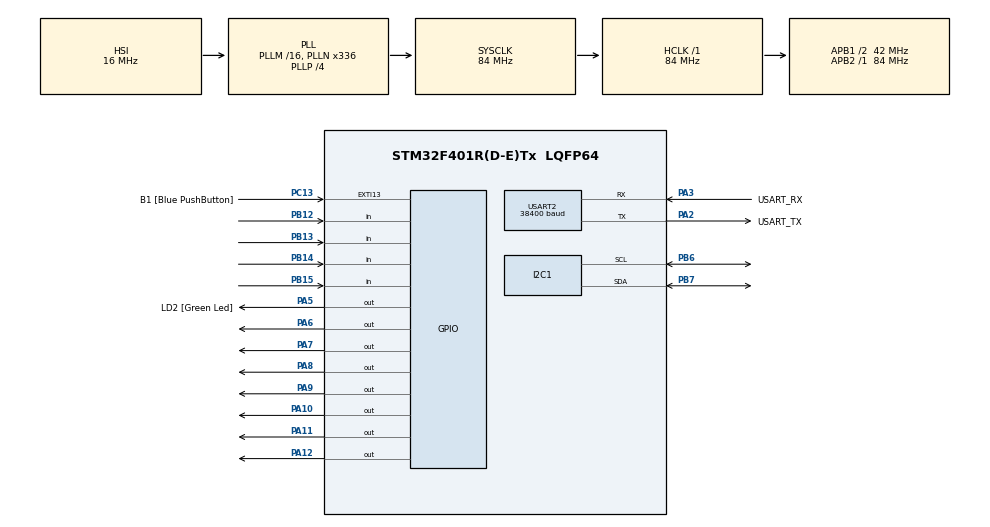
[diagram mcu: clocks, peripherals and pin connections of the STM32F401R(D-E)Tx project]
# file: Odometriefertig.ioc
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I2C1.OwnAddress=2
Mcu.Family=STM32F4
Mcu.Name=STM32F401R(D-E)Tx
Mcu.Package=LQFP64
NVIC.I2C1_ER_IRQn=true\:0\:0\:true\:false\:true\:true
NVIC.I2C1_EV_IRQn=true\:0\:0\:true\:false\:true\:true
NVIC.PriorityGroup=NVIC_PRIORITYGROUP_0
NVIC.TIM2_IRQn=true\:0\:1\:true\:false\:true\:true
PA10.Signal=GPIO_Output
PA11.Signal=GPIO_Output
PA12.Signal=GPIO_Output
PA13.GPIO_Label=TMS
PA13.Signal=SYS_JTMS-SWDIO
PA14.GPIO_Label=TCK
PA14.Signal=SYS_JTCK-SWCLK
PA2.GPIO_Label=USART_TX
PA2.GPIO_Mode=GPIO_MODE_AF_PP
PA2.GPIO_PuPd=GPIO_NOPULL
PA2.GPIO_Speed=GPIO_SPEED_FREQ_LOW
PA2.Mode=Asynchronous
PA2.Signal=USART2_TX
PA3.GPIO_Label=USART_RX
PA3.GPIO_Mode=GPIO_MODE_AF_PP
PA3.GPIO_PuPd=GPIO_NOPULL
PA3.GPIO_Speed=GPIO_SPEED_FREQ_LOW
PA3.Mode=Asynchronous
PA3.Signal=USART2_RX
PA5.GPIO_Label=LD2 [Green Led]
PA5.GPIO_Mode=GPIO_MODE_OUTPUT_PP
PA5.GPIO_PuPd=GPIO_NOPULL
PA5.GPIO_Speed=GPIO_SPEED_FREQ_LOW
PA5.Signal=GPIO_Output
PA6.Signal=GPIO_Output
PA7.Signal=GPIO_Output
PA8.Signal=GPIO_Output
PA9.Signal=GPIO_Output
PB12.Signal=GPIO_Input
PB13.Signal=GPIO_Input
PB14.Signal=GPIO_Input
PB15.Signal=GPIO_Input
PB3.GPIO_Label=SWO
PB3.Signal=SYS_JTDO-SWO
PB6.Mode=I2C
PB6.Signal=I2C1_SCL
PB7.Mode=I2C
PB7.Signal=I2C1_SDA
PC13-ANTI_TAMP.GPIO_Label=B1 [Blue PushButton]
PC13-ANTI_TAMP.GPIO_ModeDefaultEXTI=GPIO_MODE_IT_FALLING
PC13-ANTI_TAMP.GPIO_PuPd=GPIO_NOPULL
PC13-ANTI_TAMP.Signal=GPXTI13
PC14-OSC32_IN.Signal=RCC_OSC32_IN
PC15-OSC32_OUT.Signal=RCC_OSC32_OUT
PH0\ -\ OSC_IN.Signal=RCC_OSC_IN
PH1\ -\ OSC_OUT.Signal=RCC_OSC_OUT
ProjectManager.HeapSize=0x200
ProjectManager.StackSize=0x400
ProjectManager.TargetToolchain=SW4STM32
RCC.AHBFreq_Value=84000000
RCC.APB1CLKDivider=RCC_HCLK_DIV2
RCC.APB1Freq_Value=42000000
RCC.APB1TimFreq_Value=84000000
RCC.APB2Freq_Value=84000000
RCC.APB2TimFreq_Value=84000000
RCC.CortexFreq_Value=84000000
RCC.HCLKFreq_Value=84000000
RCC.HSE_VALUE=8000000
RCC.HSI_VALUE=16000000
RCC.LSE_VALUE=32768
RCC.PLLN=336
RCC.PLLP=RCC_PLLP_DIV4
RCC.PLLQ=7
RCC.SYSCLKFreq_VALUE=84000000
RCC.SYSCLKSource=RCC_SYSCLKSOURCE_PLLCLK
RCC.VCOOutputFreq_Value=336000000
TIM2.Period=201
TIM2.Prescaler=8401
USART2.BaudRate=38400
USART2.VirtualMode=VM_ASYNC
VP_TIM2_VS_ClockSourceINT.Mode=Internal
board=NUCLEO-F401RE

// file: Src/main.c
/**
  ******************************************************************************
  * File Name          : main.c
  * Description        : Main program body
  ******************************************************************************
  ** This notice applies to any and all portions of this file
  * that are not between comment pairs USER CODE BEGIN and
  * USER CODE END. Other portions of this file, whether
  * inserted by the user or by software development tools
  * are owned by their respective copyright owners.
  *
  * COPYRIGHT(c) 2018 STMicroelectronics
  *
  * Redistribution and use in source and binary forms, with or without modification,
  * are permitted provided that the following conditions are met:
  *   1. Redistributions of source code must retain the above copyright notice,
  *      this list of conditions and the following disclaimer.
  *   2. Redistributions in binary form must reproduce the above copyright notice,
  *      this list of conditions and the following disclaimer in the documentation
  *      and/or other materials provided with the distribution.
  *   3. Neither the name of STMicroelectronics nor the names of its contributors
  *      may be used to endorse or promote products derived from this software
  *      without specific prior written permission.
  *
  * THIS SOFTWARE IS PROVIDED BY THE COPYRIGHT HOLDERS AND CONTRIBUTORS "AS IS"
  * AND ANY EXPRESS OR IMPLIED WARRANTIES, INCLUDING, BUT NOT LIMITED TO, THE
  * IMPLIED WARRANTIES OF MERCHANTABILITY AND FITNESS FOR A PARTICULAR PURPOSE ARE
  * DISCLAIMED. IN NO EVENT SHALL THE COPYRIGHT HOLDER OR CONTRIBUTORS BE LIABLE
  * FOR ANY DIRECT, INDIRECT, INCIDENTAL, SPECIAL, EXEMPLARY, OR CONSEQUENTIAL
  * DAMAGES (INCLUDING, BUT NOT LIMITED TO, PROCUREMENT OF SUBSTITUTE GOODS OR
  * SERVICES; LOSS OF USE, DATA, OR PROFITS; OR BUSINESS INTERRUPTION) HOWEVER
  * CAUSED AND ON ANY THEORY OF LIABILITY, WHETHER IN CONTRACT, STRICT LIABILITY,
  * OR TORT (INCLUDING NEGLIGENCE OR OTHERWISE) ARISING IN ANY WAY OUT OF THE USE
  * OF THIS SOFTWARE, EVEN IF ADVISED OF THE POSSIBILITY OF SUCH DAMAGE.
  *
  ******************************************************************************
  */

#include "main.h"
#include "stm32f4xx_hal.h"

/* USER CODE BEGIN Includes */
/*if(GeschwindigkeitLinksmms < 100){ GPIOA->ODR = (GPIOA->IDR & 0xFFFFE03F)|(DISP_0<<6);}      //Test für Ausgabe der Geschwindigkeit des linken Rads übers Display
else if(GeschwindigkeitLinksmms < 200){GPIOA->ODR = (GPIOA->IDR & 0xFFFFE03F)|(DISP_1<<6);}
else if(GeschwindigkeitLinksmms < 300){GPIOA->ODR = (GPIOA->IDR & 0xFFFFE03F)|(DISP_2<<6);}
else if(GeschwindigkeitLinksmms < 400){GPIOA->ODR = (GPIOA->IDR & 0xFFFFE03F)|(DISP_3<<6);}
else if(GeschwindigkeitLinksmms < 500){GPIOA->ODR = (GPIOA->IDR & 0xFFFFE03F)|(DISP_4<<6);}
else if(GeschwindigkeitLinksmms < 600){GPIOA->ODR = (GPIOA->IDR & 0xFFFFE03F)|(DISP_5<<6);}
else if(GeschwindigkeitLinksmms < 700){GPIOA->ODR = (GPIOA->IDR & 0xFFFFE03F)|(DISP_6<<6);}
else if(GeschwindigkeitLinksmms < 800){GPIOA->ODR = (GPIOA->IDR & 0xFFFFE03F)|(DISP_7<<6);}
else if(GeschwindigkeitLinksmms < 900){GPIOA->ODR = (GPIOA->IDR & 0xFFFFE03F)|(DISP_8<<6);}
else if(GeschwindigkeitLinksmms < 1000){GPIOA->ODR = (GPIOA->IDR & 0xFFFFE03F)|(DISP_9<<6);}
else {GPIOA->ODR = (GPIOA->IDR & 0xFFFFE03F)|(DISP_h<<6);}*/

#include  <errno.h>
#include  <sys/unistd.h> 				// STDOUT_FILENO, STDERR_FILENO
#include <math.h>

#define STANDBY				0			// Führt kein Programm aus
#define RESET 				1			// Setzt die Ticksgesamt auf 0
#define GERADEAUSFAHRT		2			// Gibt an was die Odometrie überprüft
#define PUNKTDREHUNG		3			// Überwacht die Drehung auf einem Punkt
#define BOGENFAHRT			4			// Überwacht die Drehung um einen Bezugspunkt
#define KOORDINATENRESET	5			// Setzt das Koordinatensystem auf (0|0|0)
#define ABSTANDSMESSUNGR	11			// Testprogramme
#define ZIELANFAHRT			12
#define WINKELMESSUNG		13
										// Drehrichtung Definitions
										// physische Abmessungen
//#define RADDURCHMESSERMM 	74.37		// Angegebener Durchmesser 72 mm aber gespannt groesser
//#define RADABSTANDMM 		329			// Abstand der Odometrieraeder
#define TOLERANZ			1			// Fehlertoleranz des Odometrie Systems in Promille
//#define PI 					3.141592653589793
//#define TICKSPROUMDREHUNG	4000		// Encoderaufloesung pro Umdrehung
//#define TIMERINTERVALL      0.02		// Gibt den zeitlichen Abstand zweier Timerinterrupts in Sekunden an.
										// 7 Segment Definitions
#define KOORDINATENVORGABE		1
#define PROGRAMMAUSWAHL			2
#define KOORDINATENABFRAGE		3
#define GESCHWINDIGKEITSABFRAGE 4
#define FEHLERABFRAGE			5
#define FORTSCHRITT				6

#define DISP_CLEARE 		0b0000000
#define DISP_1 				0b0000110
#define DISP_2 				0b1011011
#define DISP_3 				0b1001111
#define DISP_4 				0b1100110
#define DISP_5 				0b1101101
#define DISP_6 				0b1111101
#define DISP_7 				0b0000111
#define DISP_8 				0b1111111
#define DISP_9 				0b1101111
#define DISP_0 				0b0111111
#define DISP_r 				0b1010000
#define DISP_l 				0b0111000
#define DISP_h 				0b1110100
#define DISP_korrekt 		0b0011110

#define I2C_ADDRESS    0x01
/* USER CODE END Includes */

I2C_HandleTypeDef hi2c1;

TIM_HandleTypeDef htim2;

UART_HandleTypeDef huart2;

/* USER CODE BEGIN PV */
/* Private variables ---------------------------------------------------------*/
// Kommunikation

uint8_t FunctionCode;
uint8_t aTxBuffer[TXBUFFERSIZE] ;
/* Buffer used for reception */
uint8_t aRxBuffer[RXBUFFERSIZE];

//Variablen für Streckenberechnung
double 	dFahrtstreckeLinksmm;
double	dFahrtstreckeRechtsmm;
double 	dFahrtstreckeMittelmm;

double 	dwinkellinks;						// Grad
double 	dwinkelrechts;						// Grad
double 	droboterwinkel;						// Grad

double 	ZielstreckeLinksmm;
double 	ZielstreckeRechtsmm;
double 	Zielroboterwinkel;					// Grad

double 	quadratgroessemm;					// Test für das Koordinatensystem
double  testwinkel;							// Test für den Roboterwinkel
int16_t	testbluetooth_ink;
int32_t schleifenzaehler;

double 	abstandzumbezugspunktmm;			// Für Bogenfahrt
double 	bogenfahrtkonstante;				// Für Bogenfahrt

float 	GeschwindigkeitLinksmms;			// Für Programm velocity In mm pro Sekunde
float 	GeschwindigkeitRechtsmms;			// Für Programm velocity
float 	Lineargeschwindigkeitmms;			// Für Programm velocity
float 	Winkelgeschwindigkeitgrads;			// Für Programm velocity In Grad pro Sekunde

double 	x_koordinatemm;						// Variablen für das Koordinatensystem
double 	y_koordinatemm;
double 	alpha_koordinategrad;
double 	alpha_koordinateradiant;

double 	winkelvproTick;						//Variablen in denen aus physikalischen Abmessungen des Systems Konstanten berechnet werden.
double 	winkelvproTickpunktdrehung;
double 	xneufall2;
double 	yneufall2;
double 	xneufall3;
double 	yneufall3;
double 	xneufall6;
double 	yneufall6;
double 	xneufall7;
double 	yneufall7;
double 	streckeprotick;

int8_t 	Programmauswahl;						// Programmauswahl
int8_t 	Fehler;								// Variable um einen Fehler zu speichern, der sich auf das Ziel bezieht
int8_t 	FehlerTyp2;							// Variable um einen Fehler zu speichern, der sich auf die aktuelle Fahrtstrecke bezieht

uint8_t 	EncoderwertRechts;					// Variablen der Encoder
int32_t 	TicksgesamtRechts;
int32_t 	TicksgesamtRechtsalt;
int32_t 	TicksgesamtRechtsneu;
int8_t 		ChangeRechts;						// Für das Koordinatensystem

uint8_t 	EncoderwertLinks;
int32_t 	TicksgesamtLinks;
int32_t 	TicksgesamtLinksalt;
int32_t 	TicksgesamtLinksneu;
int8_t 		ChangeLinks;
/* USER CODE END PV */

void SystemClock_Config(void);
static void MX_GPIO_Init(void);
static void MX_I2C1_Init(void);
static void MX_USART2_UART_Init(void);
static void MX_TIM2_Init(void);

/* USER CODE BEGIN PFP */
/* Private function prototypes -----------------------------------------------*/
void initialisierung();
void konstantenberechnung();
void read_encoder();
void calc_encoder();
void koordinatenberechnung();
void reset();
void geradeausfahrt();
void punktdrehung();
void bogenfahrt();
void koordinatenreset();
void abstandsmessungrechts();
void zielanfahrtrechts();
void winkelmessunglinks();

HAL_I2C_SlaveRxCpltCallback(I2C_HandleTypeDef *hi2c)
{
    uint8_t i;
    int32_t x_Koord = 0;
    int32_t y_Koord = 0;
    int32_t winkel =  0;

    switch(FunctionCode){
    case KOORDINATENVORGABE:            //Koordinatenvorgabe
        for(i=1;i<5;i++){
            x_Koord = x_Koord | aRxBuffer[i];
            if(i<4)
            x_Koord = x_Koord << 8;
        }
        for(i=5;i<9;i++){
            y_Koord &= aRxBuffer[i];
            y_Koord = y_Koord << 8;
        }
        for(i=9;i<17;i++){
            winkel &= aRxBuffer[i];
            winkel = winkel<< 8;
        }
        x_koordinatemm = (double)x_Koord/1000000;
        y_koordinatemm = (double)y_Koord/1000000;
        alpha_koordinategrad =(double)winkel/100;
        break;

    case PROGRAMMAUSWAHL:			break;
    case KOORDINATENABFRAGE:		break;
    case GESCHWINDIGKEITSABFRAGE: 	break;
    case FEHLERABFRAGE:				break;
    case FORTSCHRITT:				break;
    default:						break;
        ;
    }
    if(HAL_I2C_Slave_Transmit_IT(&hi2c1, (uint8_t*)aTxBuffer, TXBUFFERSIZE)!= HAL_OK)
            {
              /* Transfer error in transmission process */
              Error_Handler();
            }
}

//for debug:
void display_out(uint8_t in);
/* USER CODE END PFP */

/* USER CODE BEGIN 0 */
int _write(int file, char *data, int len)						// Für das Überladen der printf
{
   if ((file != STDOUT_FILENO) && (file != STDERR_FILENO))
   {
      errno = EBADF;
      return -1;
   }

   // arbitrary timeout 1000
   HAL_StatusTypeDef status =
      HAL_UART_Transmit(&huart2, (uint8_t*)data, len, 1000);

   // return # of bytes written - as best we can tell
   return (status == HAL_OK ? len : 0);
}
/* USER CODE END 0 */

int main(void)
{

  /* USER CODE BEGIN 1 */
	  initialisierung();							//Enthält HAL GPIO Timer und andere Initialisierung
	  konstantenberechnung();						// Berechnet Konstanten, die sich aus den Abmessungen des Roboters ergeben

	  Programmauswahl = STANDBY;					//!!!!PROGRAMMAUSWAHL!!!

	  ZielstreckeLinksmm = 0;						//Für Geradeausfahrt. Roboterziel
	  ZielstreckeRechtsmm = 0;
	  Zielroboterwinkel = 0;						//Für Punktdrehung und Bogenfahrt

	  abstandzumbezugspunktmm = 500;				//Für Bogenfahrt
	  testwinkel = 360;								// Um Winkelberechnung des Koordinatensystems zu testen
	  quadratgroessemm = 600;						//Zum Koordinatensystemtest
	  testbluetooth_ink = 0;						//Regelt in welchen Zeitabständen der HC 06 sendet
	 schleifenzaehler = 0;							//Zählt die Schleifendurchläufe zwischen zwei Timer Interrupts

  /* USER CODE END 1 */

  while (1)
  {
  /* USER CODE END WHILE */
	  /*##-2- Put I2C peripheral in reception process ###########################*/
		        if(HAL_I2C_GetState(&hi2c1) == HAL_I2C_STATE_READY){
		      if(HAL_I2C_Slave_Receive_IT(&hi2c1, (uint8_t *)aRxBuffer, RXBUFFERSIZE) != HAL_OK)
		      {
		        /* Transfer error in reception process */
		        Error_Handler();
		      }
		    }
  /* USER CODE BEGIN 3 */

	  read_encoder();
	  calc_encoder();
	  koordinatenberechnung();
	  ++schleifenzaehler;
	  if(testbluetooth_ink>199)
	  	  {
		  testbluetooth_ink = 0;
		  printf("X-Koordinate: %f Y-Koordinate: %f Roboterwinkel: %f Schleife: %i \n\r",(float)x_koordinatemm, (float)y_koordinatemm, (float)alpha_koordinategrad, schleifenzaehler);
	  	  schleifenzaehler = 0;
	  	  }

	  switch (Programmauswahl)
	  {

	  	  case STANDBY:											break;
	  	  case RESET:  				reset();			 		break;
	  	  case GERADEAUSFAHRT: 		geradeausfahrt();	 		break;
	  	  case PUNKTDREHUNG: 		punktdrehung();		 		break;
	  	  case BOGENFAHRT: 			bogenfahrt();		 		break;
	  	  case KOORDINATENRESET:	koordinatenreset();			break;
	  	  case ABSTANDSMESSUNGR: 	abstandsmessungrechts(); 	break;
	  	  case ZIELANFAHRT: 		zielanfahrtrechts();		break;
	  	  case WINKELMESSUNG:		winkelmessunglinks();		break;
	  	  default: 												break;
	  }
  }
  /* USER CODE END 3 */

}

/** System Clock Configuration
*/
void SystemClock_Config(void)
{

  RCC_OscInitTypeDef RCC_OscInitStruct;
  RCC_ClkInitTypeDef RCC_ClkInitStruct;

    /**Configure the main internal regulator output voltage
    */
  __HAL_RCC_PWR_CLK_ENABLE();

  __HAL_PWR_VOLTAGESCALING_CONFIG(PWR_REGULATOR_VOLTAGE_SCALE2);

    /**Initializes the CPU, AHB and APB busses clocks
    */
  RCC_OscInitStruct.OscillatorType = RCC_OSCILLATORTYPE_HSI;
  RCC_OscInitStruct.HSIState = RCC_HSI_ON;
  RCC_OscInitStruct.HSICalibrationValue = 16;
  RCC_OscInitStruct.PLL.PLLState = RCC_PLL_ON;
  RCC_OscInitStruct.PLL.PLLSource = RCC_PLLSOURCE_HSI;
  RCC_OscInitStruct.PLL.PLLM = 16;
  RCC_OscInitStruct.PLL.PLLN = 336;
  RCC_OscInitStruct.PLL.PLLP = RCC_PLLP_DIV4;
  RCC_OscInitStruct.PLL.PLLQ = 7;
  if (HAL_RCC_OscConfig(&RCC_OscInitStruct) != HAL_OK)
  {
    _Error_Handler(__FILE__, __LINE__);
  }

    /**Initializes the CPU, AHB and APB busses clocks
    */
  RCC_ClkInitStruct.ClockType = RCC_CLOCKTYPE_HCLK|RCC_CLOCKTYPE_SYSCLK
                              |RCC_CLOCKTYPE_PCLK1|RCC_CLOCKTYPE_PCLK2;
  RCC_ClkInitStruct.SYSCLKSource = RCC_SYSCLKSOURCE_PLLCLK;
  RCC_ClkInitStruct.AHBCLKDivider = RCC_SYSCLK_DIV1;
  RCC_ClkInitStruct.APB1CLKDivider = RCC_HCLK_DIV2;
  RCC_ClkInitStruct.APB2CLKDivider = RCC_HCLK_DIV1;

  if (HAL_RCC_ClockConfig(&RCC_ClkInitStruct, FLASH_LATENCY_2) != HAL_OK)
  {
    _Error_Handler(__FILE__, __LINE__);
  }

    /**Configure the Systick interrupt time
    */
  HAL_SYSTICK_Config(HAL_RCC_GetHCLKFreq()/1000);

    /**Configure the Systick
    */
  HAL_SYSTICK_CLKSourceConfig(SYSTICK_CLKSOURCE_HCLK);

  /* SysTick_IRQn interrupt configuration */
  HAL_NVIC_SetPriority(SysTick_IRQn, 0, 0);
}

/* I2C1 init function */
static void MX_I2C1_Init(void)
{

  hi2c1.Instance = I2C1;
  hi2c1.Init.ClockSpeed = 100000;
  hi2c1.Init.DutyCycle = I2C_DUTYCYCLE_2;
  hi2c1.Init.OwnAddress1 = 4;
  hi2c1.Init.AddressingMode = I2C_ADDRESSINGMODE_7BIT;
  hi2c1.Init.DualAddressMode = I2C_DUALADDRESS_DISABLE;
  hi2c1.Init.OwnAddress2 = 0;
  hi2c1.Init.GeneralCallMode = I2C_GENERALCALL_DISABLE;
  hi2c1.Init.NoStretchMode = I2C_NOSTRETCH_DISABLE;
  if (HAL_I2C_Init(&hi2c1) != HAL_OK)
  {
    _Error_Handler(__FILE__, __LINE__);
  }

}

/* TIM2 init function */
static void MX_TIM2_Init(void)
{

  TIM_ClockConfigTypeDef sClockSourceConfig;
  TIM_MasterConfigTypeDef sMasterConfig;

  htim2.Instance = TIM2;
  htim2.Init.Prescaler = 8401;
  htim2.Init.CounterMode = TIM_COUNTERMODE_UP;
  htim2.Init.Period = 201;
  htim2.Init.ClockDivision = TIM_CLOCKDIVISION_DIV1;
  if (HAL_TIM_Base_Init(&htim2) != HAL_OK)
  {
    _Error_Handler(__FILE__, __LINE__);
  }

  sClockSourceConfig.ClockSource = TIM_CLOCKSOURCE_INTERNAL;
  if (HAL_TIM_ConfigClockSource(&htim2, &sClockSourceConfig) != HAL_OK)
  {
    _Error_Handler(__FILE__, __LINE__);
  }

  sMasterConfig.MasterOutputTrigger = TIM_TRGO_RESET;
  sMasterConfig.MasterSlaveMode = TIM_MASTERSLAVEMODE_DISABLE;
  if (HAL_TIMEx_MasterConfigSynchronization(&htim2, &sMasterConfig) != HAL_OK)
  {
    _Error_Handler(__FILE__, __LINE__);
  }

}

/* USART2 init function */
static void MX_USART2_UART_Init(void)
{

  huart2.Instance = USART2;
  huart2.Init.BaudRate = 38400;
  huart2.Init.WordLength = UART_WORDLENGTH_8B;
  huart2.Init.StopBits = UART_STOPBITS_1;
  huart2.Init.Parity = UART_PARITY_NONE;
  huart2.Init.Mode = UART_MODE_TX_RX;
  huart2.Init.HwFlowCtl = UART_HWCONTROL_NONE;
  huart2.Init.OverSampling = UART_OVERSAMPLING_16;
  if (HAL_UART_Init(&huart2) != HAL_OK)
  {
    _Error_Handler(__FILE__, __LINE__);
  }

}

/** Configure pins as
        * Analog
        * Input
        * Output
        * EVENT_OUT
        * EXTI
*/
static void MX_GPIO_Init(void)
{

  GPIO_InitTypeDef GPIO_InitStruct;

  /* GPIO Ports Clock Enable */
  __HAL_RCC_GPIOC_CLK_ENABLE();
  __HAL_RCC_GPIOH_CLK_ENABLE();
  __HAL_RCC_GPIOA_CLK_ENABLE();
  __HAL_RCC_GPIOB_CLK_ENABLE();

  /*Configure GPIO pin Output Level */
  HAL_GPIO_WritePin(GPIOA, LD2_Pin|GPIO_PIN_6|GPIO_PIN_7|GPIO_PIN_8
                          |GPIO_PIN_9|GPIO_PIN_10|GPIO_PIN_11|GPIO_PIN_12, GPIO_PIN_RESET);

  /*Configure GPIO pin : B1_Pin */
  GPIO_InitStruct.Pin = B1_Pin;
  GPIO_InitStruct.Mode = GPIO_MODE_IT_FALLING;
  GPIO_InitStruct.Pull = GPIO_NOPULL;
  HAL_GPIO_Init(B1_GPIO_Port, &GPIO_InitStruct);

  /*Configure GPIO pins : LD2_Pin PA6 PA7 PA8
                           PA9 PA10 PA11 PA12 */
  GPIO_InitStruct.Pin = LD2_Pin|GPIO_PIN_6|GPIO_PIN_7|GPIO_PIN_8
                          |GPIO_PIN_9|GPIO_PIN_10|GPIO_PIN_11|GPIO_PIN_12;
  GPIO_InitStruct.Mode = GPIO_MODE_OUTPUT_PP;
  GPIO_InitStruct.Pull = GPIO_NOPULL;
  GPIO_InitStruct.Speed = GPIO_SPEED_FREQ_LOW;
  HAL_GPIO_Init(GPIOA, &GPIO_InitStruct);

  /*Configure GPIO pins : PB12 PB13 PB14 PB15 */
  GPIO_InitStruct.Pin = GPIO_PIN_12|GPIO_PIN_13|GPIO_PIN_14|GPIO_PIN_15;
  GPIO_InitStruct.Mode = GPIO_MODE_INPUT;
  GPIO_InitStruct.Pull = GPIO_NOPULL;
  HAL_GPIO_Init(GPIOB, &GPIO_InitStruct);

}

/* USER CODE BEGIN 4 */
void initialisierung()
{

	  HAL_Init();

	  SystemClock_Config();

	  MX_GPIO_Init();
	  MX_I2C1_Init();
	  MX_TIM2_Init();
	  MX_USART2_UART_Init();

	  HAL_TIM_Base_Start_IT(&htim2);

	  GeschwindigkeitLinksmms = 0;					// Variablen der Funktion zur Geschwindigkeitsberechnung
	  GeschwindigkeitRechtsmms = 0;
	  Lineargeschwindigkeitmms = 0;
	  Winkelgeschwindigkeitgrads = 0;

	  dFahrtstreckeLinksmm = 0;
	  dFahrtstreckeRechtsmm = 0;
	  dFahrtstreckeMittelmm = 0;

	  dwinkellinks = 0;
	  dwinkelrechts = 0;
	  droboterwinkel = 0;

	  ZielstreckeLinksmm = 0;
	  ZielstreckeRechtsmm = 0;
	  Zielroboterwinkel = 0;
	  quadratgroessemm = 0;
	  abstandzumbezugspunktmm = 0;
	  bogenfahrtkonstante = 0;

	  x_koordinatemm = 0;
	  y_koordinatemm = 0;
	  alpha_koordinategrad = 0;
	  alpha_koordinateradiant = 0;

	  Programmauswahl = STANDBY;
	  Fehler = 0;										//Bezieht sich auf die Endposition
	  FehlerTyp2 = 0;									//Bezieht sich auf die aktuelle Stellung

	  EncoderwertRechts = 0;
	  TicksgesamtRechts = 0;
	  TicksgesamtRechtsalt = 0;
	  TicksgesamtRechtsneu = 0;
	  ChangeRechts = 0;

	  EncoderwertLinks = 0;
	  TicksgesamtLinks = 0;
	  TicksgesamtLinksalt = 0;
	  TicksgesamtLinksneu = 0;
	  ChangeLinks = 0;
}
void konstantenberechnung()
{
winkelvproTick = (180.0 * RADDURCHMESSERMM)/(TICKSPROUMDREHUNG * RADABSTANDMM);
winkelvproTickpunktdrehung = (360 *RADDURCHMESSERMM)/(RADABSTANDMM * TICKSPROUMDREHUNG);
xneufall2 = (RADABSTANDMM/2) * (1 - cos(winkelvproTick * PI / 180.0));
yneufall2 = ((-1) * RADABSTANDMM/2) * sin(winkelvproTick * PI / 180.0);
xneufall3 = (RADABSTANDMM/2) * (cos(winkelvproTick * PI / 180.0) - 1);
yneufall3 = ((-1) * RADABSTANDMM/2) * sin(winkelvproTick * PI / 180.0);
xneufall6 = (RADABSTANDMM/2) * (cos(winkelvproTick * PI / 180.0) - 1);
yneufall6 = (RADABSTANDMM/2) * sin(winkelvproTick * PI / 180.0);
xneufall7 = (RADABSTANDMM/2) * (1 - cos(winkelvproTick * PI / 180.0));
yneufall7 = (RADABSTANDMM/2) * sin(winkelvproTick * PI / 180.0);
streckeprotick = (PI * RADDURCHMESSERMM)/TICKSPROUMDREHUNG;

}

void read_encoder()													// schiebt Encoderwerte weiter und fügt neue Werte ein
{
	EncoderwertLinks = (EncoderwertLinks<<2) & 0x0C;
	EncoderwertLinks |= (uint8_t)(((GPIOB->IDR)>>12) & 0x03);
	EncoderwertRechts = (EncoderwertRechts<<2) & 0x0C;
	EncoderwertRechts |=(uint8_t)(((GPIOB->IDR)>>14) & 0x03);
}
void calc_encoder()
{
	if(EncoderwertLinks == 0x07 ||EncoderwertLinks == 0x0E||EncoderwertLinks == 0x08||EncoderwertLinks == 0x01)
	{++TicksgesamtLinks ; ChangeLinks = 1;}
	else if (EncoderwertLinks == 0x02||EncoderwertLinks == 0x0B||EncoderwertLinks == 0x0D||EncoderwertLinks == 0x04)
	{--TicksgesamtLinks; ChangeLinks =-1;}
	else if((EncoderwertLinks&0x03)==(EncoderwertLinks>>2))
	{ ChangeLinks = 0;}
	else
	{ChangeLinks = 0;}

	if(EncoderwertRechts == 0x07 ||EncoderwertRechts == 0x0E||EncoderwertRechts == 0x08||EncoderwertRechts == 0x01)
	{--TicksgesamtRechts ; ChangeRechts = -1;}
	else if (EncoderwertRechts == 0x02||EncoderwertRechts == 0x0B||EncoderwertRechts == 0x0D||EncoderwertRechts == 0x04)
	{++TicksgesamtRechts; ChangeRechts = 1;}
	else if((EncoderwertRechts&0x03)==(EncoderwertRechts>>2))
	{ ChangeRechts = 0;}
	else
	{ChangeRechts = 0;}
}
void koordinatenberechnung()
{
alpha_koordinateradiant = alpha_koordinategrad * PI / 180.0;

if (ChangeLinks == -1 && ChangeRechts == -1)				//Fährt zurück
{
	x_koordinatemm = x_koordinatemm + streckeprotick * sin(alpha_koordinateradiant);
	y_koordinatemm = y_koordinatemm - streckeprotick * cos(alpha_koordinateradiant);
}
else if(ChangeLinks == -1 && ChangeRechts == 0)				//Linkes Rad fährt zurück
{
	x_koordinatemm = x_koordinatemm - xneufall2 * cos((-1)* alpha_koordinateradiant) - yneufall2 * sin((-1)* alpha_koordinateradiant);
	y_koordinatemm = y_koordinatemm - xneufall2 * sin((-1)* alpha_koordinateradiant) + yneufall2 * cos((-1)* alpha_koordinateradiant);
	alpha_koordinategrad = alpha_koordinategrad - winkelvproTick;
}
else if(ChangeLinks == 0 && ChangeRechts == -1)				//Rechtes Rad fährt zurück
{
	x_koordinatemm = x_koordinatemm - xneufall3 * cos((-1)* alpha_koordinateradiant) - yneufall3 * sin((-1)* alpha_koordinateradiant);
	y_koordinatemm = y_koordinatemm - xneufall3 * sin((-1)* alpha_koordinateradiant) + yneufall3 * cos((-1)* alpha_koordinateradiant);
	alpha_koordinategrad = alpha_koordinategrad + winkelvproTick;
}
else if(ChangeLinks == -1 && ChangeRechts == 1)				//dreht sich gegen den Uhrzeigersinn
{
	alpha_koordinategrad = alpha_koordinategrad - winkelvproTickpunktdrehung;
}
else if(ChangeLinks == 1 && ChangeRechts == -1)				//dreht sich im Uhrzeigersinn
{
	alpha_koordinategrad = alpha_koordinategrad + winkelvproTickpunktdrehung;
}
else if(ChangeLinks == 0 && ChangeRechts == 1)				//Rechtes Rad fährt vorwärts
{
	x_koordinatemm = x_koordinatemm - xneufall6 * cos((-1)* alpha_koordinateradiant) - yneufall6 * sin((-1)* alpha_koordinateradiant);
	y_koordinatemm = y_koordinatemm - xneufall6 * sin((-1)* alpha_koordinateradiant) + yneufall6 * cos((-1)* alpha_koordinateradiant);
	alpha_koordinategrad = alpha_koordinategrad - winkelvproTick;
}
else if(ChangeLinks == 1 && ChangeRechts == 0)				//Linkes Rad fährt vorwärts
{
	x_koordinatemm = x_koordinatemm - xneufall7 * cos((-1)* alpha_koordinateradiant) - yneufall7 * sin((-1)* alpha_koordinateradiant);
	y_koordinatemm = y_koordinatemm - xneufall7 * sin((-1)* alpha_koordinateradiant) + yneufall7 * cos((-1)* alpha_koordinateradiant);
	alpha_koordinategrad = alpha_koordinategrad + winkelvproTick;
}
else if(ChangeLinks == 1 && ChangeRechts == 1)				//Fährt vorwärts
{
	x_koordinatemm = x_koordinatemm - streckeprotick * sin(alpha_koordinateradiant);
	y_koordinatemm = y_koordinatemm + streckeprotick * cos(alpha_koordinateradiant);
}
else {}

/*if (alpha_koordinategrad > testwinkel * (1000 - 0.1 * TOLERANZ)/1000 && alpha_koordinategrad < testwinkel * (1000 + 0.1 * TOLERANZ)/1000  )		// Test des Koordinatensystems. In welchem Teil des Spielfelds befindet sich der Robo
{GPIOA->ODR = (GPIOA->IDR & 0xFFFFE03F)|(DISP_0<<6);}
else if(alpha_koordinategrad > testwinkel * (1000 - TOLERANZ)/1000 && alpha_koordinategrad < testwinkel * (1000 + TOLERANZ)/1000 )
{GPIOA->ODR = (GPIOA->IDR & 0xFFFFE03F)|(DISP_1<<6);}
else if(alpha_koordinategrad > testwinkel * (1000 - 2 * TOLERANZ)/1000 && alpha_koordinategrad < testwinkel * (1000 + 2 * TOLERANZ)/1000  )
{GPIOA->ODR = (GPIOA->IDR & 0xFFFFE03F)|(DISP_2<<6);}
else if(alpha_koordinategrad > testwinkel * (1000 - 3 * TOLERANZ)/1000 && alpha_koordinategrad < testwinkel * (1000 + 3 * TOLERANZ)/1000 )
{GPIOA->ODR = (GPIOA->IDR & 0xFFFFE03F)|(DISP_3<<6);}
else if(alpha_koordinategrad > testwinkel * (1000 - 4 * TOLERANZ)/1000 && alpha_koordinategrad < testwinkel * (1000 + 4 * TOLERANZ)/1000 )
{GPIOA->ODR = (GPIOA->IDR & 0xFFFFE03F)|(DISP_4<<6);}
else if(alpha_koordinategrad > testwinkel * (1000 - 5 * TOLERANZ)/1000 && alpha_koordinategrad < testwinkel * (1000 + 5 * TOLERANZ)/1000 )
{GPIOA->ODR = (GPIOA->IDR & 0xFFFFE03F)|(DISP_5<<6);}
else if(alpha_koordinategrad > testwinkel * (1000 - 6 * TOLERANZ)/1000 && alpha_koordinategrad < testwinkel * (1000 + 6 * TOLERANZ)/1000 )
{GPIOA->ODR = (GPIOA->IDR & 0xFFFFE03F)|(DISP_6<<6);}
else if(alpha_koordinategrad > testwinkel * (1000 - 7 * TOLERANZ)/1000 && alpha_koordinategrad < testwinkel * (1000 + 7 * TOLERANZ)/1000 )
{GPIOA->ODR = (GPIOA->IDR & 0xFFFFE03F)|(DISP_7<<6);}
else if(alpha_koordinategrad > testwinkel * (1000 - 8 * TOLERANZ)/1000 && alpha_koordinategrad < testwinkel * (1000 + 8 * TOLERANZ)/1000 )
{GPIOA->ODR = (GPIOA->IDR & 0xFFFFE03F)|(DISP_8<<6);}
else if(alpha_koordinategrad > testwinkel * (1000 - 9 * TOLERANZ)/1000 && alpha_koordinategrad < testwinkel * (1000 + 9 * TOLERANZ)/1000 )
{GPIOA->ODR = (GPIOA->IDR & 0xFFFFE03F)|(DISP_9<<6);}
else
{GPIOA->ODR = (GPIOA->IDR & 0xFFFFE03F)|(DISP_l<<6);}*/

/*if (x_koordinatemm < ((-1) * quadratgroessemm/6) && y_koordinatemm >(quadratgroessemm/6) )		// Test des Koordinatensystems. In welchem Teil des Spielfelds befindet sich der Robo
{GPIOA->ODR = (GPIOA->IDR & 0xFFFFE03F)|(DISP_1<<6);}
else if((x_koordinatemm > ((-1) * quadratgroessemm/6) && x_koordinatemm < ( quadratgroessemm/6)) && y_koordinatemm >(quadratgroessemm/6))
{GPIOA->ODR = (GPIOA->IDR & 0xFFFFE03F)|(DISP_2<<6);}
else if(x_koordinatemm < ((-1) * quadratgroessemm/6) && (y_koordinatemm >( (-1) * quadratgroessemm/6) && y_koordinatemm < (quadratgroessemm/6)) )
{GPIOA->ODR = (GPIOA->IDR & 0xFFFFE03F)|(DISP_3<<6);}
else if(x_koordinatemm > (quadratgroessemm/6) && y_koordinatemm >(quadratgroessemm/6))
{GPIOA->ODR = (GPIOA->IDR & 0xFFFFE03F)|(DISP_4<<6);}
else if(x_koordinatemm < ((-1) * quadratgroessemm/6) && y_koordinatemm <((-1) * quadratgroessemm/6))
{GPIOA->ODR = (GPIOA->IDR & 0xFFFFE03F)|(DISP_5<<6);}
else if(x_koordinatemm > (quadratgroessemm/6) && (y_koordinatemm >( (-1) * quadratgroessemm/6) && y_koordinatemm < (quadratgroessemm/6)))
{GPIOA->ODR = (GPIOA->IDR & 0xFFFFE03F)|(DISP_6<<6);}
else if((x_koordinatemm > ((-1) * quadratgroessemm/6) && x_koordinatemm < ( quadratgroessemm/6)) && y_koordinatemm < ((-1) * quadratgroessemm/6))
{GPIOA->ODR = (GPIOA->IDR & 0xFFFFE03F)|(DISP_7<<6);}
else if(x_koordinatemm > (quadratgroessemm/6) && y_koordinatemm <((-1) * quadratgroessemm/6))
{GPIOA->ODR = (GPIOA->IDR & 0xFFFFE03F)|(DISP_8<<6);}
else
{GPIOA->ODR = (GPIOA->IDR & 0xFFFFE03F)|(DISP_0<<6);}*/

}
void reset()
{
	dFahrtstreckeLinksmm = 		0;
	dFahrtstreckeRechtsmm = 	0;
	dFahrtstreckeMittelmm = 	0;

	dwinkellinks = 				0;
	dwinkelrechts = 			0;
	droboterwinkel = 			0;

	ZielstreckeLinksmm = 		0;
	ZielstreckeRechtsmm = 		0;
	Zielroboterwinkel = 		0;

	abstandzumbezugspunktmm = 	0;
	bogenfahrtkonstante = 		0;

	Programmauswahl = 			STANDBY;
 	Fehler = 					0;
	FehlerTyp2 = 				0;

	EncoderwertRechts = 		0;
	TicksgesamtRechts = 		0;
	TicksgesamtRechtsalt = 		0;
	TicksgesamtRechtsneu = 		0;
	ChangeRechts = 				0;

	EncoderwertLinks = 			0;
	TicksgesamtLinks = 			0;
	TicksgesamtLinksalt = 		0;
	TicksgesamtLinksneu = 		0;
	ChangeLinks = 				0;
}
void geradeausfahrt()
{
	dFahrtstreckeRechtsmm 	= ((double)TicksgesamtRechts/TICKSPROUMDREHUNG) * PI *RADDURCHMESSERMM;
	dFahrtstreckeLinksmm 	= ((double)TicksgesamtLinks/TICKSPROUMDREHUNG) * PI *RADDURCHMESSERMM;

    if (dFahrtstreckeLinksmm <  dFahrtstreckeRechtsmm * (1000 - TOLERANZ)/1000)					//Gibt den Laufzeitfehler aus
	{
	FehlerTyp2 = 1;
	}
    else if (dFahrtstreckeLinksmm >  dFahrtstreckeRechtsmm * (1000 + TOLERANZ)/1000)
    {
    FehlerTyp2= 2;
    }
    else
    {
    FehlerTyp2 = 0;
    }

    if (dFahrtstreckeLinksmm < ZielstreckeLinksmm * (1000 - TOLERANZ)/1000 &&  dFahrtstreckeRechtsmm < ZielstreckeRechtsmm * (1000 - TOLERANZ)/1000)		//Fehler 1. Gibt die Typ1 Fehler aus
    {
    	Fehler= 1;
    	GPIOA->ODR = (GPIOA->IDR & 0xFFFFE03F)|(DISP_1<<6);
    }
    else if(dFahrtstreckeLinksmm < ZielstreckeLinksmm * (1000 - TOLERANZ)/1000 && (( dFahrtstreckeRechtsmm > ZielstreckeRechtsmm * (1000 - TOLERANZ)/1000) && ( dFahrtstreckeRechtsmm < ZielstreckeRechtsmm * (1000 + TOLERANZ)/1000))) // Fehler 2
    {
    	Fehler= 2;
    	GPIOA->ODR = (GPIOA->IDR & 0xFFFFE03F)|(DISP_2<<6);
    }
    else if(((dFahrtstreckeLinksmm > ZielstreckeLinksmm * (1000 - TOLERANZ)/1000) && (dFahrtstreckeLinksmm < ZielstreckeLinksmm * (1000 + TOLERANZ)/1000)) &&  dFahrtstreckeRechtsmm < ZielstreckeRechtsmm * (1000 - TOLERANZ)/1000) // Fehler 3
       {
       	Fehler= 3;
       	GPIOA->ODR = (GPIOA->IDR & 0xFFFFE03F)|(DISP_3<<6);
       }
    else if(dFahrtstreckeLinksmm < ZielstreckeLinksmm * (1000 - TOLERANZ)/1000 &&  dFahrtstreckeRechtsmm > ZielstreckeRechtsmm * (1000 + TOLERANZ)/1000) // Fehler 4
       {
       	Fehler= 4;
       	GPIOA->ODR = (GPIOA->IDR & 0xFFFFE03F)|(DISP_4<<6);
       }
    else if(dFahrtstreckeLinksmm > ZielstreckeLinksmm * (1000 + TOLERANZ)/1000 &&  dFahrtstreckeRechtsmm < ZielstreckeRechtsmm * (1000 - TOLERANZ)/1000) // Fehler 5
     {
     	Fehler= 5;
     	GPIOA->ODR = (GPIOA->IDR & 0xFFFFE03F)|(DISP_5<<6);
     }
     else if(((dFahrtstreckeLinksmm > ZielstreckeLinksmm * (1000 - TOLERANZ)/1000) && (dFahrtstreckeLinksmm < ZielstreckeLinksmm * (1000 + TOLERANZ)/1000)) && dFahrtstreckeRechtsmm > ZielstreckeRechtsmm * (1000 + TOLERANZ)/1000) // Fehler 6
        {
        	Fehler= 6;
        	GPIOA->ODR = (GPIOA->IDR & 0xFFFFE03F)|(DISP_6<<6);
        }
     else if(dFahrtstreckeLinksmm > ZielstreckeLinksmm * (1000 + TOLERANZ)/1000 && (( dFahrtstreckeRechtsmm > ZielstreckeRechtsmm * (1000 - TOLERANZ)/1000) && ( dFahrtstreckeRechtsmm < ZielstreckeRechtsmm * (1000 + TOLERANZ)/1000)) ) // Fehler 7
        {
        	Fehler= 7;
        	GPIOA->ODR = (GPIOA->IDR & 0xFFFFE03F)|(DISP_7<<6);
        }
     else if(dFahrtstreckeLinksmm > ZielstreckeLinksmm * (1000 + TOLERANZ)/1000 &&  dFahrtstreckeRechtsmm > ZielstreckeRechtsmm * (1000 + TOLERANZ)/1000) // Fehler 8
      {
      	Fehler= 8;
      	GPIOA->ODR = (GPIOA->IDR & 0xFFFFE03F)|(DISP_8<<6);
      }
      else																																											// Fehler 0
      {
    	  Fehler= 0;
    	  GPIOA->ODR = (GPIOA->IDR & 0xFFFFE03F)|(DISP_0<<6);
      }
}
void punktdrehung()
{
	dFahrtstreckeRechtsmm 	= ((double)TicksgesamtRechts/TICKSPROUMDREHUNG) * PI *RADDURCHMESSERMM;
	dFahrtstreckeLinksmm 	= ((double)TicksgesamtLinks/TICKSPROUMDREHUNG) * PI *RADDURCHMESSERMM;
	dFahrtstreckeMittelmm 	= (dFahrtstreckeLinksmm - dFahrtstreckeRechtsmm)/2; 							// Winkel im Uhrzeigersinn positiv
	droboterwinkel 			= (dFahrtstreckeMittelmm * 360)/(PI * RADABSTANDMM);
	ZielstreckeLinksmm 		= (Zielroboterwinkel * PI * RADABSTANDMM)/ 360;
	ZielstreckeRechtsmm 	= (Zielroboterwinkel * PI * RADABSTANDMM * (-1))/ 360;

    if (dFahrtstreckeLinksmm < (-1) * dFahrtstreckeRechtsmm * (1000 - TOLERANZ)/1000)					//Gibt den Laufzeitfehler aus
	{
	FehlerTyp2 = 1;
	}
    else if (dFahrtstreckeLinksmm > (-1) * dFahrtstreckeRechtsmm * (1000 + TOLERANZ)/1000)
    {
    FehlerTyp2= 2;
    }
    else
    {
    FehlerTyp2 = 0;
    }

    if (dFahrtstreckeLinksmm < ZielstreckeLinksmm * (1000 - TOLERANZ)/1000 && (-1) * dFahrtstreckeRechtsmm < ZielstreckeRechtsmm *(-1)* (1000 - TOLERANZ)/1000)		//Fehler 1. Gibt die Typ1 Fehler aus
    {
    	Fehler= 1;
    	GPIOA->ODR = (GPIOA->IDR & 0xFFFFE03F)|(DISP_1<<6);
    }
    else if(dFahrtstreckeLinksmm < ZielstreckeLinksmm * (1000 - TOLERANZ)/1000 && (((-1) * dFahrtstreckeRechtsmm > ZielstreckeRechtsmm *(-1)* (1000 - TOLERANZ)/1000) && ((-1) * dFahrtstreckeRechtsmm < ZielstreckeRechtsmm *(-1)* (1000 + TOLERANZ)/1000))) // Fehler 2
    {
    	Fehler= 2;
    	GPIOA->ODR = (GPIOA->IDR & 0xFFFFE03F)|(DISP_2<<6);
    }
    else if(((dFahrtstreckeLinksmm > ZielstreckeLinksmm * (1000 - TOLERANZ)/1000) && (dFahrtstreckeLinksmm < ZielstreckeLinksmm * (1000 + TOLERANZ)/1000)) && (-1) * dFahrtstreckeRechtsmm < ZielstreckeRechtsmm *(-1)* (1000 - TOLERANZ)/1000) // Fehler 3
       {
       	Fehler= 3;
       	GPIOA->ODR = (GPIOA->IDR & 0xFFFFE03F)|(DISP_3<<6);
       }
    else if(dFahrtstreckeLinksmm < ZielstreckeLinksmm * (1000 - TOLERANZ)/1000 && (-1) * dFahrtstreckeRechtsmm > ZielstreckeRechtsmm *(-1)* (1000 + TOLERANZ)/1000) // Fehler 4
       {
       	Fehler= 4;
       	GPIOA->ODR = (GPIOA->IDR & 0xFFFFE03F)|(DISP_4<<6);
       }
    else if(dFahrtstreckeLinksmm > ZielstreckeLinksmm * (1000 + TOLERANZ)/1000 && (-1) * dFahrtstreckeRechtsmm < ZielstreckeRechtsmm *(-1)* (1000 - TOLERANZ)/1000) // Fehler 5
     {
     	Fehler= 5;
     	GPIOA->ODR = (GPIOA->IDR & 0xFFFFE03F)|(DISP_5<<6);
     }
     else if(((dFahrtstreckeLinksmm > ZielstreckeLinksmm * (1000 - TOLERANZ)/1000) && (dFahrtstreckeLinksmm < ZielstreckeLinksmm * (1000 + TOLERANZ)/1000)) && (-1) * dFahrtstreckeRechtsmm > ZielstreckeRechtsmm *(-1)* (1000 + TOLERANZ)/1000) // Fehler 6
        {
        	Fehler= 6;
        	GPIOA->ODR = (GPIOA->IDR & 0xFFFFE03F)|(DISP_6<<6);
        }
     else if(dFahrtstreckeLinksmm > ZielstreckeLinksmm * (1000 + TOLERANZ)/1000 && (((-1) * dFahrtstreckeRechtsmm > ZielstreckeRechtsmm *(-1)* (1000 - TOLERANZ)/1000) && ((-1) * dFahrtstreckeRechtsmm < ZielstreckeRechtsmm *(-1)* (1000 + TOLERANZ)/1000)) ) // Fehler 7
        {
        	Fehler= 7;
        	GPIOA->ODR = (GPIOA->IDR & 0xFFFFE03F)|(DISP_7<<6);
        }
     else if(dFahrtstreckeLinksmm > ZielstreckeLinksmm * (1000 + TOLERANZ)/1000 && (-1) * dFahrtstreckeRechtsmm > ZielstreckeRechtsmm *(-1)* (1000 + TOLERANZ)/1000) // Fehler 8
      {
      	Fehler= 8;
      	GPIOA->ODR = (GPIOA->IDR & 0xFFFFE03F)|(DISP_8<<6);
      }
      else																																											// Fehler 0
      {
    	  Fehler= 0;
    	  GPIOA->ODR = (GPIOA->IDR & 0xFFFFE03F)|(DISP_0<<6);
      }

}
void bogenfahrt()
{

ZielstreckeLinksmm = (Zielroboterwinkel * 2 * PI * (abstandzumbezugspunktmm + RADABSTANDMM/2))/360.0;
ZielstreckeRechtsmm = (Zielroboterwinkel * 2 * PI * (abstandzumbezugspunktmm - RADABSTANDMM/2))/360.0;
dFahrtstreckeLinksmm = ((double)TicksgesamtLinks/TICKSPROUMDREHUNG) * PI *RADDURCHMESSERMM;
dFahrtstreckeRechtsmm = ((double)TicksgesamtRechts/TICKSPROUMDREHUNG) * PI *RADDURCHMESSERMM;
// Berechnung des Fehlertyps 2
if (RADABSTANDMM/2 > abstandzumbezugspunktmm * (1000 - TOLERANZ)/1000 && RADABSTANDMM/2 < abstandzumbezugspunktmm * (1000 + TOLERANZ)/1000)
{
	FehlerTyp2 = 0; 		// Fehler des Typs 2 können nicht erkannt werden
}
else if (RADABSTANDMM/2 > (-1) * abstandzumbezugspunktmm * (1000 - TOLERANZ)/1000 && RADABSTANDMM/2 <  (-1) * abstandzumbezugspunktmm * (1000 + TOLERANZ)/1000)
{
	FehlerTyp2 = 0; 	//Fehler des Typs 2 können nicht erkannt werden
}
else
{
	bogenfahrtkonstante = (abstandzumbezugspunktmm - RADABSTANDMM/2)/(abstandzumbezugspunktmm + RADABSTANDMM/2);

	if(dFahrtstreckeRechtsmm < dFahrtstreckeLinksmm * bogenfahrtkonstante * (1000 - TOLERANZ)/1000)
	{
		FehlerTyp2 = 2;
	}
	else if(dFahrtstreckeRechtsmm > dFahrtstreckeLinksmm * bogenfahrtkonstante * (1000 + TOLERANZ)/1000)
	{
		FehlerTyp2 = 1;
	}
	else { FehlerTyp2 = 0;}

}
// Überprüfung des Fehlertyps 1

if (dFahrtstreckeLinksmm < ZielstreckeLinksmm * (1000 - TOLERANZ)/1000 &&  dFahrtstreckeRechtsmm < ZielstreckeRechtsmm * (1000 - TOLERANZ)/1000)		//Fehler 1. Gibt die Typ1 Fehler aus
{
	Fehler= 1;
	GPIOA->ODR = (GPIOA->IDR & 0xFFFFE03F)|(DISP_1<<6);
}
else if(dFahrtstreckeLinksmm < ZielstreckeLinksmm * (1000 - TOLERANZ)/1000 && (( dFahrtstreckeRechtsmm > ZielstreckeRechtsmm * (1000 - TOLERANZ)/1000) && ( dFahrtstreckeRechtsmm < ZielstreckeRechtsmm * (1000 + TOLERANZ)/1000))) // Fehler 2
{
	Fehler= 2;
	GPIOA->ODR = (GPIOA->IDR & 0xFFFFE03F)|(DISP_2<<6);
}
else if(((dFahrtstreckeLinksmm > ZielstreckeLinksmm * (1000 - TOLERANZ)/1000) && (dFahrtstreckeLinksmm < ZielstreckeLinksmm * (1000 + TOLERANZ)/1000)) &&  dFahrtstreckeRechtsmm < ZielstreckeRechtsmm * (1000 - TOLERANZ)/1000) // Fehler 3
   {
   	Fehler= 3;
   	GPIOA->ODR = (GPIOA->IDR & 0xFFFFE03F)|(DISP_3<<6);
   }
else if(dFahrtstreckeLinksmm < ZielstreckeLinksmm * (1000 - TOLERANZ)/1000 &&  dFahrtstreckeRechtsmm > ZielstreckeRechtsmm * (1000 + TOLERANZ)/1000) // Fehler 4
   {
   	Fehler= 4;
   	GPIOA->ODR = (GPIOA->IDR & 0xFFFFE03F)|(DISP_4<<6);
   }
else if(dFahrtstreckeLinksmm > ZielstreckeLinksmm * (1000 + TOLERANZ)/1000 &&  dFahrtstreckeRechtsmm < ZielstreckeRechtsmm * (1000 - TOLERANZ)/1000) // Fehler 5
 {
 	Fehler= 5;
 	GPIOA->ODR = (GPIOA->IDR & 0xFFFFE03F)|(DISP_5<<6);
 }
 else if(((dFahrtstreckeLinksmm > ZielstreckeLinksmm * (1000 - TOLERANZ)/1000) && (dFahrtstreckeLinksmm < ZielstreckeLinksmm * (1000 + TOLERANZ)/1000)) && dFahrtstreckeRechtsmm > ZielstreckeRechtsmm * (1000 + TOLERANZ)/1000) // Fehler 6
    {
    	Fehler= 6;
    	GPIOA->ODR = (GPIOA->IDR & 0xFFFFE03F)|(DISP_6<<6);
    }
 else if(dFahrtstreckeLinksmm > ZielstreckeLinksmm * (1000 + TOLERANZ)/1000 && (( dFahrtstreckeRechtsmm > ZielstreckeRechtsmm * (1000 - TOLERANZ)/1000) && ( dFahrtstreckeRechtsmm < ZielstreckeRechtsmm * (1000 + TOLERANZ)/1000)) ) // Fehler 7
    {
    	Fehler= 7;
    	GPIOA->ODR = (GPIOA->IDR & 0xFFFFE03F)|(DISP_7<<6);
    }
 else if(dFahrtstreckeLinksmm > ZielstreckeLinksmm * (1000 + TOLERANZ)/1000 &&  dFahrtstreckeRechtsmm > ZielstreckeRechtsmm * (1000 + TOLERANZ)/1000) // Fehler 8
  {
  	Fehler= 8;
  	GPIOA->ODR = (GPIOA->IDR & 0xFFFFE03F)|(DISP_8<<6);
  }
  else																																											// Fehler 0
  {
	  Fehler= 0;
	  GPIOA->ODR = (GPIOA->IDR & 0xFFFFE03F)|(DISP_0<<6);
  }
}
void koordinatenreset()
{
	 x_koordinatemm = 0;
	 y_koordinatemm = 0;
	 alpha_koordinategrad = 0;
}
void abstandsmessungrechts()
{
	dFahrtstreckeRechtsmm = ((double)TicksgesamtRechts/TICKSPROUMDREHUNG) * PI *RADDURCHMESSERMM;

	if (dFahrtstreckeRechtsmm < 100)
	{

			GPIOA->ODR = (GPIOA->IDR & 0xFFFFE03F)|(DISP_0<<6);
	}
	else if (dFahrtstreckeRechtsmm < 200)
		{

			GPIOA->ODR = (GPIOA->IDR & 0xFFFFE03F)|(DISP_1<<6);
		}
	else if (dFahrtstreckeRechtsmm < 300)
		{

			GPIOA->ODR = (GPIOA->IDR & 0xFFFFE03F)|(DISP_2<<6);
		}
	else if (dFahrtstreckeRechtsmm < 400)
		{

			GPIOA->ODR = (GPIOA->IDR & 0xFFFFE03F)|(DISP_3<<6);
		}
	else if (dFahrtstreckeRechtsmm < 500)
		{

			GPIOA->ODR = (GPIOA->IDR & 0xFFFFE03F)|(DISP_4<<6);
		}
	else if (dFahrtstreckeRechtsmm < 600)
		{

			GPIOA->ODR = (GPIOA->IDR & 0xFFFFE03F)|(DISP_5<<6);
		}
	else if (dFahrtstreckeRechtsmm < 700)
		{

			GPIOA->ODR = (GPIOA->IDR & 0xFFFFE03F)|(DISP_6<<6);
		}
	else if (dFahrtstreckeRechtsmm < 800)
		{

			GPIOA->ODR = (GPIOA->IDR & 0xFFFFE03F)|(DISP_7<<6);
		}
	else if (dFahrtstreckeRechtsmm < 900)
		{

			GPIOA->ODR = (GPIOA->IDR & 0xFFFFE03F)|(DISP_8<<6);
		}
	else if (dFahrtstreckeRechtsmm < 1000)
		{

			GPIOA->ODR = (GPIOA->IDR & 0xFFFFE03F)|(DISP_9<<6);
		}
	else
		{

			GPIOA->ODR = (GPIOA->IDR & 0xFFFFE03F)|(DISP_h<<6);
		}
}
void zielanfahrtrechts()
{
dFahrtstreckeRechtsmm = ((double)TicksgesamtRechts/TICKSPROUMDREHUNG) * PI *RADDURCHMESSERMM;

if (dFahrtstreckeRechtsmm < (ZielstreckeRechtsmm * (1000 - TOLERANZ))/1000)
{
		GPIOA->ODR = (GPIOA->IDR & 0xFFFFE03F)|(DISP_l<<6);
}
else if(dFahrtstreckeRechtsmm > (ZielstreckeRechtsmm * (1000 + TOLERANZ))/1000)
{
		GPIOA->ODR = (GPIOA->IDR & 0xFFFFE03F)|(DISP_h<<6);
}
else
{
		GPIOA->ODR = (GPIOA->IDR & 0xFFFFE03F)|(DISP_korrekt<<6);
}
}
void winkelmessunglinks()
{
	dwinkellinks = ((double)TicksgesamtLinks/TICKSPROUMDREHUNG) * 360;

	if(dwinkellinks < 0)
	{
		GPIOA->ODR = (GPIOA->IDR & 0xFFFFE03F)|(DISP_l<<6);
	}
	else if(dwinkellinks <10)
	{
		GPIOA->ODR = (GPIOA->IDR & 0xFFFFE03F)|(DISP_0<<6);
	}
	else if(dwinkellinks <20)
	{
		GPIOA->ODR = (GPIOA->IDR & 0xFFFFE03F)|(DISP_1<<6);
	}
	else if(dwinkellinks <30)
	{
		GPIOA->ODR = (GPIOA->IDR & 0xFFFFE03F)|(DISP_2<<6);
	}
	else if(dwinkellinks <40)
	{
		GPIOA->ODR = (GPIOA->IDR & 0xFFFFE03F)|(DISP_3<<6);
	}
	else if(dwinkellinks <50)
	{
		GPIOA->ODR = (GPIOA->IDR & 0xFFFFE03F)|(DISP_4<<6);
	}
	else if(dwinkellinks <60)
	{
		GPIOA->ODR = (GPIOA->IDR & 0xFFFFE03F)|(DISP_5<<6);
	}
	else if(dwinkellinks <70)
	{
		GPIOA->ODR = (GPIOA->IDR & 0xFFFFE03F)|(DISP_6<<6);
	}
	else if(dwinkellinks <80)
	{
		GPIOA->ODR = (GPIOA->IDR & 0xFFFFE03F)|(DISP_7<<6);
	}
	else if(dwinkellinks <90)
	{
		GPIOA->ODR = (GPIOA->IDR & 0xFFFFE03F)|(DISP_8<<6);
	}
	else if(dwinkellinks <100)
	{
		GPIOA->ODR = (GPIOA->IDR & 0xFFFFE03F)|(DISP_9<<6);
	}

	else if(dwinkellinks < (180 *(1000 - TOLERANZ)/1000))
	{
		GPIOA->ODR = (GPIOA->IDR & 0xFFFFE03F)|(DISP_r<<6);
	}
	else if(dwinkellinks > (180 *(1000 + TOLERANZ)/1000))
	{
		GPIOA->ODR = (GPIOA->IDR & 0xFFFFE03F)|(DISP_h<<6);
	}
	else
	{
		GPIOA->ODR = (GPIOA->IDR & 0xFFFFE03F)|(DISP_korrekt<<6);
	}
}																						//Debugfunctions:
void display_out(uint8_t in)
{
	if(in>=0 && in <=9)
	{
		 switch (in)
			  {
				  case 0:	GPIOA->ODR = (GPIOA->IDR & 0xFFFFE03F)|(DISP_0<<6);break;
				  case 1:	GPIOA->ODR = (GPIOA->IDR & 0xFFFFE03F)|(DISP_1<<6);break;
				  case 2:	GPIOA->ODR = (GPIOA->IDR & 0xFFFFE03F)|(DISP_2<<6);break;
				  case 3:	GPIOA->ODR = (GPIOA->IDR & 0xFFFFE03F)|(DISP_3<<6);break;
				  case 4:	GPIOA->ODR = (GPIOA->IDR & 0xFFFFE03F)|(DISP_4<<6);break;
				  case 5:	GPIOA->ODR = (GPIOA->IDR & 0xFFFFE03F)|(DISP_5<<6);break;
				  case 6:	GPIOA->ODR = (GPIOA->IDR & 0xFFFFE03F)|(DISP_6<<6);break;
				  case 7:	GPIOA->ODR = (GPIOA->IDR & 0xFFFFE03F)|(DISP_7<<6);break;
				  case 8:	GPIOA->ODR = (GPIOA->IDR & 0xFFFFE03F)|(DISP_8<<6);break;
				  case 9:	GPIOA->ODR = (GPIOA->IDR & 0xFFFFE03F)|(DISP_9<<6);break;
				  default:	break;
			  }
	}
	else
	{
		GPIOA->ODR = (GPIOA->IDR & 0xFFFFE03F)|(DISP_CLEARE<<6);
	}
}

void display_out_bin(uint8_t bin)
{
	GPIOA->ODR = (GPIOA->IDR & 0xFFFFE03F)|(bin<<6);
}

/* USER CODE END 4 */

void _Error_Handler(char * file, int line)
{
  while(1)
  {
  }
}

/************************ (C) COPYRIGHT STMicroelectronics *****END OF FILE****/
